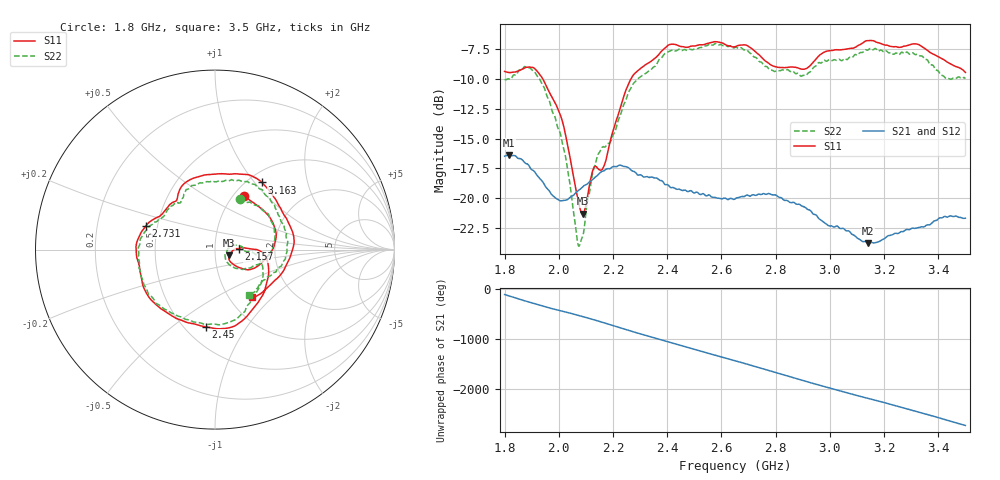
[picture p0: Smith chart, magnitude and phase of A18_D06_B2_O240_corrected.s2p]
! Created with skrf 1.9.0 (http://scikit-rf.org).
# Hz S RI R 50.0
!freq ReS11 ImS11 ReS21 ImS21 ReS12 ImS12 ReS22 ImS22
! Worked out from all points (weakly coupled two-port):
!   1601 points, 1.8 GHz to 3.5 GHz, reference 50 ohm
!   highest |S21| = -16.40 dB at 1.815 GHz (marker M1); lowest = -23.8 dB at 3.142 GHz (marker M2)
!   lowest |S11| = -21.3 dB at 2.088 GHz (marker M3), VSWR 1.19, Z = 58.5 - j3.81 ohm
!   |S11| at or under -10 dB: 1.941 GHz to 2.266 GHz (324.8 MHz wide, 15.4 % of centre)
!   |S22| runs from -24.0 to -7.0 dB; largest |S21 - S12| = 0.0025
!   S11 on the Smith chart (normalised r, x): 1.8 GHz: 1.12, +0.76; 2.157 GHz: 1.30, +0.00; 2.45 GHz: 0.63, -0.67; 2.731 GHz: 0.43, +0.14; 3.163 GHz: 1.15, +1.09; 3.5 GHz: 1.27, -0.76
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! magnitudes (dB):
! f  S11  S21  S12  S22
! 1.8 GHz  -9.4  -16.5  -16.5  -10.0
! 1.815 GHz  -9.4  -16.4  -16.4  -10.0
! 1.881 GHz  -9.0  -17.1  -17.1  -9.1
! 1.943 GHz  -10.1  -18.7  -18.7  -10.6
! 2.013 GHz  -13.5  -20.2  -20.2  -15.3
! 2.068 GHz  -19.8  -19.4  -19.4  -23.5
! 2.084 GHz  -21.2  -19.2  -19.1  -23.4
! 2.088 GHz  -21.3  -19.1  -19.1  -23.2
! 2.127 GHz  -17.5  -18.4  -18.4  -17.7
! 2.157 GHz  -17.6  -17.8  -17.8  -15.9
! 2.195 GHz  -14.7  -17.4  -17.4  -15.0
! 2.262 GHz  -10.2  -17.5  -17.6  -10.9
! 2.367 GHz  -8.0  -18.4  -18.4  -8.5
! 2.45 GHz  -7.3  -19.3  -19.3  -7.6
! 2.65 GHz  -7.3  -20.1  -20.0  -7.3
! 2.731 GHz  -7.8  -19.7  -19.8  -8.3
! 2.934 GHz  -8.7  -21.2  -21.2  -9.2
! 3.142 GHz  -6.8  -23.8  -23.7  -7.5
! 3.163 GHz  -6.8  -23.8  -23.7  -7.5
! 3.217 GHz  -7.2  -23.2  -23.1  -7.8
! 3.325 GHz  -7.1  -22.5  -22.5  -7.9
! 3.5 GHz  -9.4  -21.7  -21.7  -10.0
